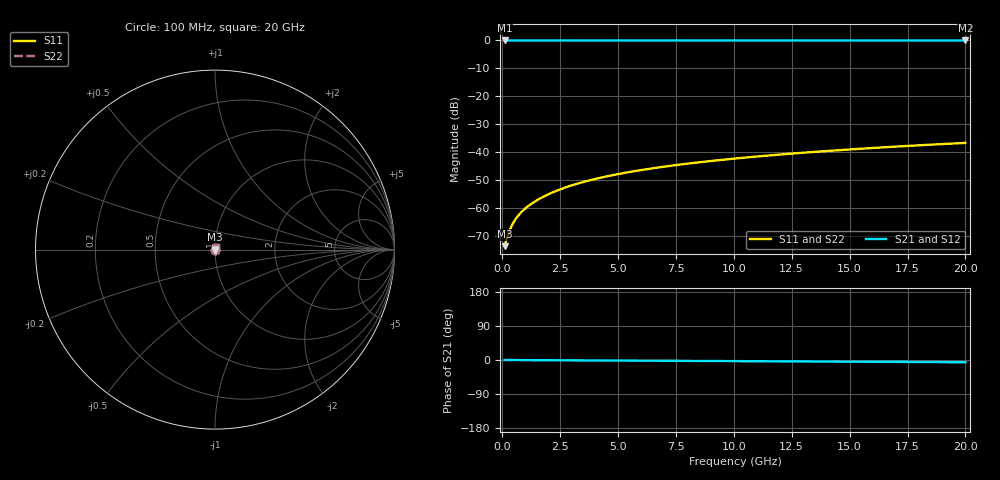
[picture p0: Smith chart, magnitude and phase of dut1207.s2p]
! Touchstone file exported from HFSS 2026.1.0
!  File:  C:/ffzhzh/LocalFiles/Ansys_Project_Files/temp_train_TSV_1207_1783192776_51560.aedt
!  Generated:  03:21:20 AM Jul  5, 2026
!  Design:  TSV
!  Project:  temp_train_TSV_1207_1783192776_51560
! Variables:
!  h_bsmrdl = 2um
!  h_ox = 20um
!  h_rdl = 5um
!  h_sub = 57.4um
!  h_tmrdl = 5um
!  h_tsv = 57.4um
!  h_via = 3um
!  l_bsmrdl = 300um
!  l_sub = 413.88um
!  l_tmrdl = 200um
!  m_sub = 200um
!  pitch = 33.02um
!  r_tsv = 6.94um
!  s_tmrdl = 10um
!  w_bsmrdl = 18um
!  w_sub = 500um
!  w_tmrdl = 12um
!  x_tsv_center1 = 206um
!  x_tsv_center2 = 524um
!  x_tsv_center3 = 736um
!  x_tsv_center4 = 1054um
!  x_tsv_center5 = 1266um
!  x_tsv_center6 = 1584um
# GHz S MA R 50.000000
! Terminal data exported
! Port[1] = TSV1_1_T1
! Port[2] = TSV1_1_T2
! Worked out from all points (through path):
!   200 points, 100 MHz to 20 GHz, reference 50 ohm
!   highest |S21| = 0.00 dB at 100 MHz (marker M1); lowest = 0.0 dB at 20 GHz (marker M2)
!   lowest |S11| = -73.7 dB at 100 MHz (marker M3), VSWR 1.00, Z = 50 + j0.0111 ohm
!   |S11| at or under -10 dB: start of sweep to end of sweep
!   |S22| runs from -73.7 to -36.7 dB; largest |S21 - S12| = 2.1e-15
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0.1  0.0002071 32.3  0.9998 -0.0  0.9998 -0.0  0.0002071 32.3
! Gamma 0 0 0 0
! Port Impedance 50 0 50 0
0.2  0.0002869 49.6  0.9998 -0.1  0.9998 -0.1  0.0002869 49.6
0.3  0.0003799 57.9  0.9998 -0.1  0.9998 -0.1  0.0003799 57.9
0.4  0.0004744 62.3  0.9998 -0.1  0.9998 -0.1  0.0004744 62.3
0.5  0.0005665 64.8  0.9998 -0.2  0.9998 -0.2  0.0005665 64.8
0.6  0.0006554 66.6  0.9997 -0.2  0.9997 -0.2  0.0006554 66.6
0.7  0.0007412 67.9  0.9997 -0.2  0.9997 -0.2  0.0007412 67.9
0.8  0.0008246 68.9  0.9997 -0.2  0.9997 -0.2  0.0008246 68.9
1  0.0009864 70.6  0.9997 -0.3  0.9997 -0.3  0.0009864 70.6
1.4  0.001301 73.2  0.9996 -0.4  0.9996 -0.4  0.001301 73.2
1.7  0.001534 74.6  0.9996 -0.5  0.9996 -0.5  0.001534 74.6
2  0.001767 75.7  0.9996 -0.6  0.9996 -0.6  0.001767 75.7
2.7  0.002309 77.4  0.9995 -0.8  0.9995 -0.8  0.002309 77.4
3.5  0.002921 78.4  0.9995 -1.1  0.9995 -1.1  0.002921 78.4
4.2  0.003449 78.9  0.9994 -1.3  0.9994 -1.3  0.003449 78.9
5  0.004044 79.3  0.9993 -1.5  0.9993 -1.5  0.004044 79.3
6.8  0.005357 79.8  0.9992 -2.0  0.9992 -2.0  0.005357 79.8
8.3  0.006434 80.0  0.9991 -2.5  0.9991 -2.5  0.006434 80.0
10.1  0.007716 80.1  0.999 -3.0  0.999 -3.0  0.007716 80.1
13.4  0.01005 80.0  0.9989 -4.0  0.9989 -4.0  0.01005 80.0
16.7  0.01236 79.6  0.9987 -4.9  0.9987 -4.9  0.01236 79.6
20  0.01464 79.0  0.9986 -5.9  0.9986 -5.9  0.01464 79.0
